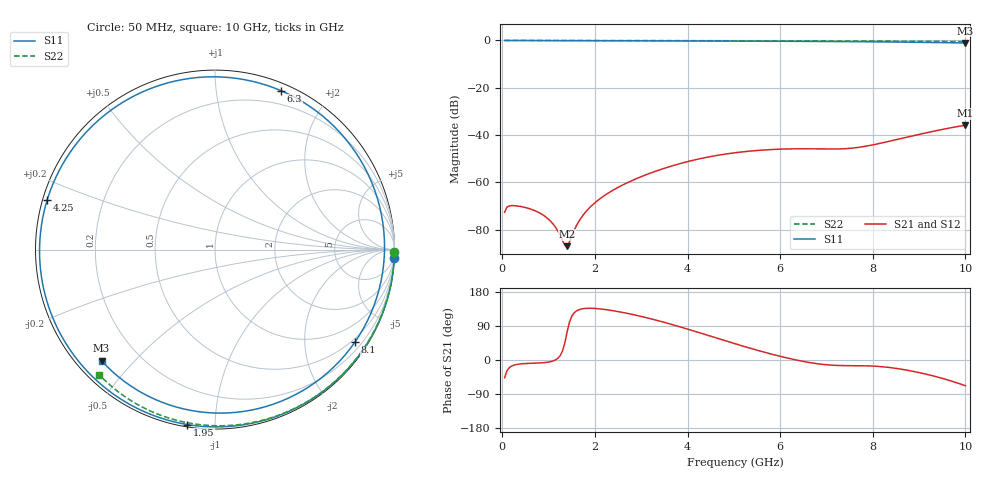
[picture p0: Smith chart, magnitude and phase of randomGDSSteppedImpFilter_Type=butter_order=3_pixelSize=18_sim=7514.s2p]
! freq	dB(S11)	phase(S11)	dB(S12)	phase(S12)
!  dB(S21)	phase(S21)	dB(S22)	phase(S22)
!S-par simulation data
#  GHz  S  DB  R 50
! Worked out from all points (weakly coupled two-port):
!   200 points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, 50 MHz to 10 GHz, reference 50 ohm
!   highest |S21| = -35.89 dB at 10 GHz (marker M1); lowest = -87.0 dB at 1.4 GHz (marker M2)
!   lowest |S11| = -1.1 dB at 10 GHz (marker M3), VSWR 16.35, Z = 3.57 - j20.3 ohm
!   |S11| at or under -10 dB: nowhere
!   |S22| runs from -0.4 to 0.0 dB; largest |S21 - S12| = 0
!   S11 on the Smith chart (normalised r, x): 50 MHz: 0, -42; 1.95 GHz: 0.01, -0.85; 4.25 GHz: 0.01, +0.14; 6.3 GHz: 0.07, +1.50; 8.1 GHz: 0.40, -3.28; 10 GHz: 0.07, -0.41
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0.05  -0.00 -2.7  -72.70 -47.0  -72.70 -47.0  -0.00 -0.8
0.15  -0.00 -8.1  -70.04 -20.5  -70.04 -20.5  -0.00 -2.3
0.55  -0.03 -29.7  -70.95 -9.0  -70.95 -9.0  -0.01 -8.4
0.9  -0.05 -48.0  -74.13 -7.0  -74.13 -7.0  -0.02 -13.7
1.2  -0.08 -63.2  -80.63 4.6  -80.63 4.6  -0.02 -18.3
1.4  -0.09 -73.0  -87.04 74.2  -87.04 74.2  -0.03 -21.3
1.55  -0.10 -80.3  -80.41 124.2  -80.41 124.2  -0.03 -23.5
1.75  -0.11 -89.7  -73.78 135.6  -73.78 135.6  -0.03 -26.5
1.95  -0.11 -99.0  -69.54 136.4  -69.54 136.4  -0.04 -29.5
2.7  -0.15 -131.9  -60.19 123.1  -60.19 123.1  -0.05 -40.4
3.4  -0.18 -161.1  -54.73 102.6  -54.73 102.6  -0.07 -50.4
4.25  -0.22 163.6  -50.11 72.2  -50.11 72.2  -0.09 -62.2
5.05  -0.27 128.8  -47.45 41.9  -47.45 41.9  -0.11 -73.0
5.7  -0.32 98.1  -46.28 19.2  -46.28 19.2  -0.14 -81.4
6.3  -0.37 67.4  -45.85 1.2  -45.85 1.2  -0.16 -89.0
6.7  -0.40 45.7  -45.87 -8.0  -45.87 -8.0  -0.18 -94.0
7.4  -0.48 6.2  -45.80 -14.9  -45.80 -14.9  -0.22 -102.6
8.1  -0.59 -33.5  -43.78 -16.7  -43.78 -16.7  -0.27 -110.9
8.35  -0.63 -47.4  -42.68 -19.6  -42.68 -19.6  -0.29 -113.8
8.75  -0.72 -69.3  -40.86 -27.1  -40.86 -27.1  -0.32 -118.5
9.15  -0.82 -90.7  -39.10 -37.3  -39.10 -37.3  -0.36 -123.1
10  -1.06 -135.6  -35.89 -67.9  -35.89 -67.9  -0.45 -132.9
